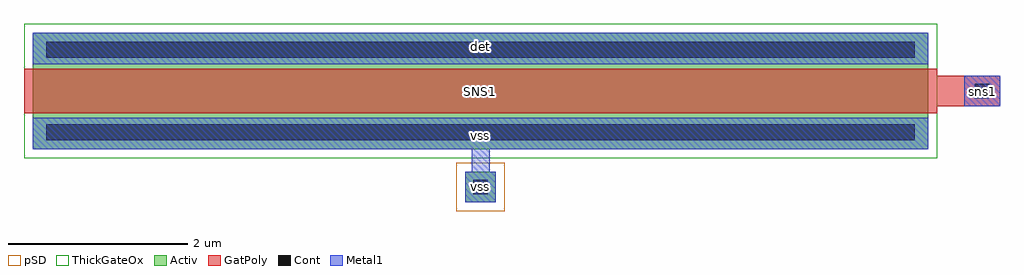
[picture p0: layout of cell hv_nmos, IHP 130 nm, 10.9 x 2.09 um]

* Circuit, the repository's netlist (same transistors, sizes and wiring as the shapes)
* Single-device source netlist for the runset-LVS fixture (issue #380): one
* HV NMOS in the shape design/netlist/bandgap_startup.spice instantiates
* (MSENSE).
.subckt hv_nmos det sns1 vss
XMSENSE det sns1 vss vss sg13_hv_nmos w=10u l=0.5u ng=1 m=1
.ends

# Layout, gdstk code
import gdstk
lib = gdstk.Library(unit=1e-6, precision=1e-09)
def R(c, l, rs):  # rectangles x0, y0, x1, y1
    for r in rs: c.add(gdstk.rectangle(r[:2], r[2:], *l))
Activ = (1, 0)
GatPoly = (5, 0)
Cont = (6, 0)
Metal1 = (8, 0)
pSD = (14, 0)
ThickGateOx = (44, 0)

hv_nmos = lib.new_cell('hv_nmos')
R(hv_nmos, Activ, [(-0.17,-1.24,0.17,-0.9), (-5,-0.65,5,0.65)])
R(hv_nmos, GatPoly, [(-5.1,-0.25,5.1,0.25), (5.1,-0.17,5.8,0.17)])
R(hv_nmos, Cont, [(-0.08,-1.15,0.08,-0.99), (-4.85,-0.55,4.85,-0.37), (5.52,-0.08,5.68,0.08), (-4.85,0.37,4.85,0.55)])
R(hv_nmos, Metal1, [(-0.17,-1.24,0.17,-0.9), (-0.1,-0.9,0.1,-0.6), (-5,-0.65,5,-0.3), (5.4,-0.17,5.8,0.17), (-5,0.3,5,0.65)])
R(hv_nmos, pSD, [(-0.27,-1.34,0.27,-0.8)])
R(hv_nmos, ThickGateOx, [(-5.1,-0.75,5.1,0.75)])
hv_nmos.add(gdstk.Label('SNS1', (0,0), layer=5, texttype=1))
hv_nmos.add(gdstk.Label('det', (0,0.5), layer=8, texttype=1))
hv_nmos.add(gdstk.Label('vss', (0,-0.5), layer=8, texttype=1))
hv_nmos.add(gdstk.Label('vss', (0,-1.07), layer=8, texttype=1))
hv_nmos.add(gdstk.Label('sns1', (5.6,0), layer=8, texttype=1))
hv_nmos.add(gdstk.Label('MSENSE(nmos w=10.0u l=0.5u)', (0,1.25), layer=63, texttype=0))
hv_nmos.add(gdstk.Label('DET', (0,0.5), layer=8, texttype=25))
hv_nmos.add(gdstk.Label('VSS', (0,-0.5), layer=8, texttype=25))
hv_nmos.add(gdstk.Label('VSS', (0,-1.07), layer=8, texttype=25))
hv_nmos.add(gdstk.Label('SNS1', (5.6,0), layer=8, texttype=25))

lib.write_gds('hv_nmos.gds')
